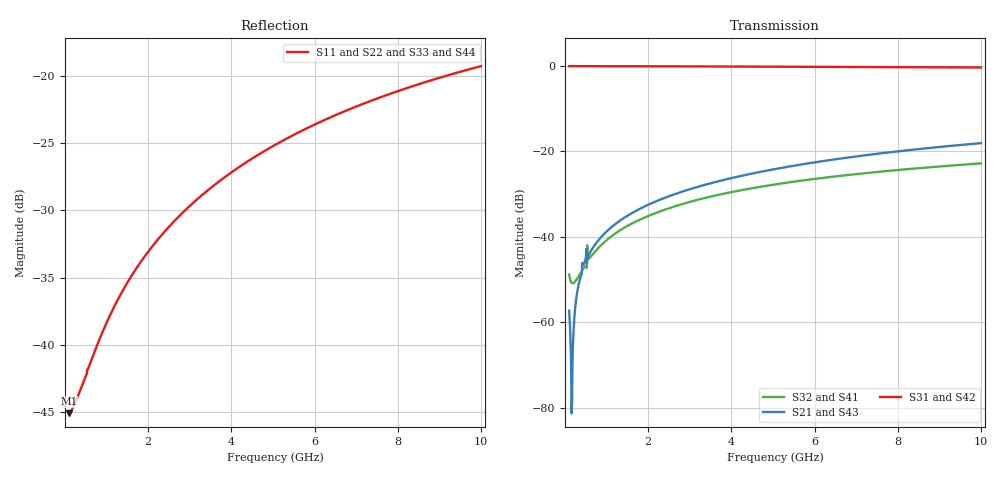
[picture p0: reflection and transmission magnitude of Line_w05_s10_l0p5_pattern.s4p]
! TOUCHSTONE file generated by CST MICROWAVE STUDIO
! Date and time: Fri Oct 24 10:10:08 2014
! Project name: Untitled_0.cst
# GHZ S MA R 50
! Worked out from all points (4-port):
!   1001 points, 100 MHz to 10 GHz, reference 50 ohm
!   strongest paths, dB at 100 MHz, 2.575 GHz, 5.05 GHz, 7.525 GHz, 10 GHz:
!     S31: 0.0, -0.1, -0.2, -0.3, -0.4
!     S42: 0.0, -0.1, -0.2, -0.3, -0.4
!     S21: -57.3, -30.2, -24.1, -20.5, -18.1
!     S43: -57.3, -30.3, -24.2, -20.5, -18.1
!     S32: -48.9, -33.1, -27.7, -24.8, -22.8
!     S41: -49.3, -33.1, -27.7, -24.8, -22.8
!   lowest |S11| = -45.1 dB at 100 MHz (marker M1), VSWR 1.01, Z = 50.5 + j0.105 ohm
!   |S11| at or under -10 dB: start of sweep to end of sweep
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0.1  0.005559 10.7  0.00155 -92.8  0.9945 -0.2  0.003593 -91.2
     0.001366 -90.8  0.005508 10.9  0.003429 -90.6  0.9945 -0.2
     0.9945 -0.2  0.003607 -91.5  0.005538 10.9  0.001535 -92.7
     0.003423 -90.6  0.9945 -0.2  0.00137 -91.3  0.005509 11.2
0.1792  0.005793 19.4  0.0008298 91.9  0.9945 -0.4  0.002992 -91.3
        0.0002972 88.6  0.005877 19.2  0.003376 -90.0  0.9946 -0.4
        0.9945 -0.4  0.002859 -91.3  0.005807 19.2  0.0006979 93.8
        0.003394 -90.5  0.9946 -0.4  0.000313 86.7  0.005854 19.0
0.2386  0.006074 25.0  0.001941 89.5  0.9945 -0.5  0.003105 -91.0
        0.001353 87.5  0.006086 24.7  0.00352 -89.9  0.9945 -0.5
        0.9945 -0.5  0.002972 -90.9  0.006066 24.8  0.001807 90.1
        0.00353 -90.6  0.9945 -0.5  0.001391 87.8  0.006096 24.7
0.3277  0.006544 32.2  0.003296 89.0  0.9945 -0.7  0.003565 -90.9
        0.002743 86.9  0.006542 32.2  0.003906 -90.0  0.9945 -0.7
        0.9945 -0.7  0.003451 -90.8  0.006541 32.2  0.003181 89.3
        0.003868 -91.1  0.9945 -0.7  0.002837 88.1  0.006558 32.2
0.6544  0.008932 51.0  0.007327 88.8  0.9942 -1.3  0.006125 -92.6
        0.007209 88.0  0.008973 51.2  0.006255 -91.6  0.9942 -1.3
        0.9942 -1.3  0.006131 -92.5  0.008942 51.0  0.007335 89.0
        0.006246 -90.6  0.9942 -1.3  0.007201 88.2  0.00897 51.2
2.0701  0.02294 72.8  0.02449 87.9  0.9914 -4.2  0.01804 -99.9
        0.02454 88.3  0.02311 73.0  0.01807 -99.8  0.9914 -4.2
        0.9915 -4.2  0.01807 -100.1  0.023 72.8  0.02445 87.8
        0.01803 -100.5  0.9914 -4.2  0.02443 87.8  0.0231 72.9
10  0.1089 66.7  0.1248 72.9  0.9596 -18.7  0.0724 -129.1
    0.1248 72.9  0.1094 66.8  0.07244 -129.1  0.9596 -18.7
    0.9596 -18.7  0.07241 -129.1  0.1089 66.7  0.1248 72.9
    0.07243 -129.1  0.9596 -18.7  0.1248 72.9  0.1093 66.7
